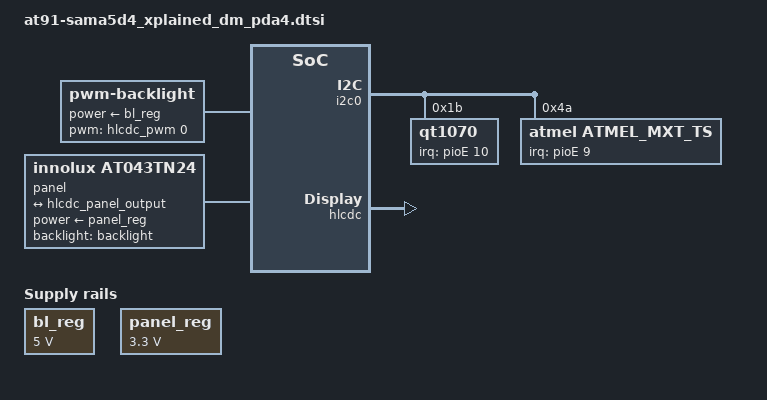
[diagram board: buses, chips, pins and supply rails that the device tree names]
/*
 * Device Tree Include file for PDA4 display module on SAMA5D4 Xplained board
 *
 *  Copyright (C) 2014 Atmel,
 *                2014 Josh Wu <josh.wu@atmel.com>
 *
 * This file is dual-licensed: you can use it either under the terms
 * of the GPL or the X11 license, at your option. Note that this dual
 * licensing only applies to this file, and not this project as a
 * whole.
 *
 *  a) This file is free software; you can redistribute it and/or
 *     modify it under the terms of the GNU General Public License as
 *     published by the Free Software Foundation; either version 2 of the
 *     License, or (at your option) any later version.
 *
 *     This file is distributed in the hope that it will be useful,
 *     but WITHOUT ANY WARRANTY; without even the implied warranty of
 *     MERCHANTABILITY or FITNESS FOR A PARTICULAR PURPOSE.  See the
 *     GNU General Public License for more details.
 *
 * Or, alternatively,
 *
 *  b) Permission is hereby granted, free of charge, to any person
 *     obtaining a copy of this software and associated documentation
 *     files (the "Software"), to deal in the Software without
 *     restriction, including without limitation the rights to use,
 *     copy, modify, merge, publish, distribute, sublicense, and/or
 *     sell copies of the Software, and to permit persons to whom the
 *     Software is furnished to do so, subject to the following
 *     conditions:
 *
 *     The above copyright notice and this permission notice shall be
 *     included in all copies or substantial portions of the Software.
 *
 *     THE SOFTWARE IS PROVIDED "AS IS", WITHOUT WARRANTY OF ANY KIND,
 *     EXPRESS OR IMPLIED, INCLUDING BUT NOT LIMITED TO THE WARRANTIES
 *     OF MERCHANTABILITY, FITNESS FOR A PARTICULAR PURPOSE AND
 *     NONINFRINGEMENT. IN NO EVENT SHALL THE AUTHORS OR COPYRIGHT
 *     HOLDERS BE LIABLE FOR ANY CLAIM, DAMAGES OR OTHER LIABILITY,
 *     WHETHER IN AN ACTION OF CONTRACT, TORT OR OTHERWISE, ARISING
 *     FROM, OUT OF OR IN CONNECTION WITH THE SOFTWARE OR THE USE OR
 *     OTHER DEALINGS IN THE SOFTWARE.
 */

/ {
	ahb {
		apb {
			i2c0: i2c@f8014000 {
				qt1070: keyboard@1b {
					compatible = "qt1070";
					reg = <0x1b>;
					interrupt-parent = <&pioE>;
					interrupts = <10 0x0>;
					pinctrl-names = "default";
					pinctrl-0 = <&pinctrl_qt1070_irq>;
					wakeup-source;
				};

				atmel_mxt_ts@4a {
					compatible = "atmel,atmel_mxt_ts";
					reg = <0x4a>;
					interrupt-parent = <&pioE>;
					interrupts = <9 0x0>;
					pinctrl-names = "default";
					pinctrl-0 = <&pinctrl_mxt_ts>;
				};
			};

			hlcdc: hlcdc@f0000000 {
				status = "okay";

				hlcdc-display-controller {
					pinctrl-names = "default";
					pinctrl-0 = <&pinctrl_lcd_base &pinctrl_lcd_rgb777>;

					port@0 {
						hlcdc_panel_output: endpoint@0 {
							reg = <0>;
							remote-endpoint = <&panel_input>;
						};
					};
				};
			};

			pinctrl@fc06a000 {
				board {
					pinctrl_qt1070_irq: qt1070_irq {
						atmel,pins =
							<AT91_PIOE 10 AT91_PERIPH_GPIO AT91_PINCTRL_PULL_UP_DEGLITCH>;
					};

					pinctrl_mxt_ts: mxt_irq {
						atmel,pins =
							<AT91_PIOE 9 AT91_PERIPH_GPIO AT91_PINCTRL_PULL_UP_DEGLITCH>;
					};
				};
			};
		};
	};

	backlight: backlight {
		compatible = "pwm-backlight";
		pwms = <&hlcdc_pwm 0 50000 0>;
		brightness-levels = <0 4 8 16 32 64 128 255>;
		default-brightness-level = <6>;
		power-supply = <&bl_reg>;
		status = "okay";
	};

	bl_reg: backlight_regulator {
		compatible = "regulator-fixed";
		regulator-name = "backlight-power-supply";
		regulator-min-microvolt = <5000000>;
		regulator-max-microvolt = <5000000>;
		status = "okay";
	};

	panel: panel {
		compatible = "innolux,at043tn24", "simple-panel";
		backlight = <&backlight>;
		power-supply = <&panel_reg>;
		#address-cells = <1>;
		#size-cells = <0>;
		status = "okay";

		port@0 {
			reg = <0>;
			#address-cells = <1>;
			#size-cells = <0>;

			panel_input: endpoint@0 {
				reg = <0>;
				remote-endpoint = <&hlcdc_panel_output>;
			};
		};
	};

	panel_reg: panel_regulator {
		compatible = "regulator-fixed";
		regulator-name = "panel-power-supply";
		regulator-min-microvolt = <3300000>;
		regulator-max-microvolt = <3300000>;
		status = "okay";
	};
};
